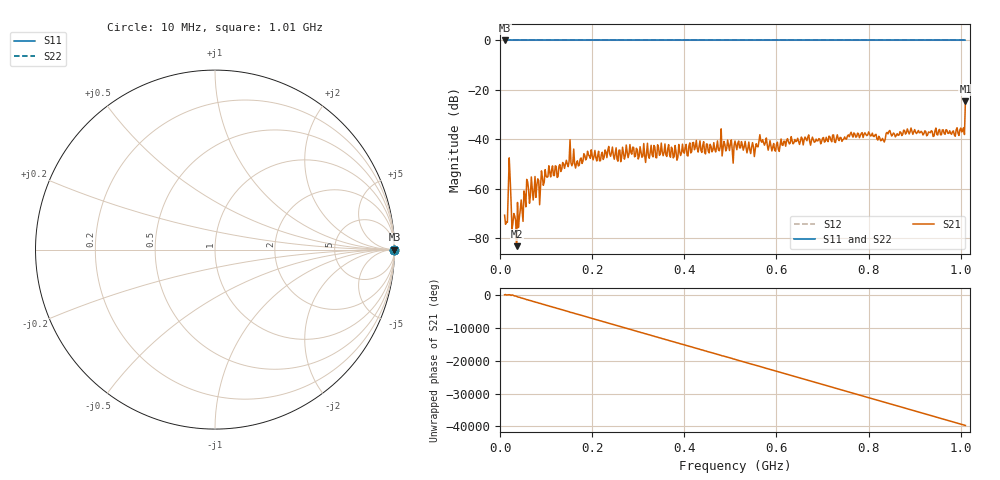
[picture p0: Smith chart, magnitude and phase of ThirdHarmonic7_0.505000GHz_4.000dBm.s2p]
! 8/17/2025 2:33:43 PM
! C:\ANRITSUVNA\TEMP\TEMP.S2P
! CHANNEL.1
! TR.MEASUREMENT
! RAW.DATA
! RF.CORRECTION.OFF
! AVERAGING.OFF
! IF.BANDWIDTH: 5KHZ
! SWEEPTYPE:  FREQ.SWEEP(Linear)
! Reference Plane Port Info
! PORT:  PORT1  PORT2
! DISTANCE:  0  m  0  m
! TIME:  0  s  0  s
! PHASE.OFFSET:  0  deg.  0  deg.
! LOSS:  0  dB  0  dB
! REF.LOSS:  0  dB  0  dB
! REF.FREQ:  0  Hz  0  Hz
! Power Info
! POWER:  -20  dBm  -20  dBm
! EFF.POWER:  -20  dBm  -20  dBm
! SOURCE.ATTEN:  0  dB  0  dB
! TEST.ATTEN:  0  dB  0  dB
# GHZ S RI R 50.0
! FREQ.GHZ  S11RE  S11IM  S21RE  S21IM  S12RE  S12IM  S22RE  S22IM
!; PortSelection: Port_12
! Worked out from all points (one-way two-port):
!   501 points, 10 MHz to 1.01 GHz, reference 50 ohm
!   highest |S21| = -24.63 dB at 1.01 GHz (marker M1); lowest = -83.1 dB at 36 MHz (marker M2)
!   lowest |S11| = 0.0 dB at 10 MHz (marker M3)
!   |S11| at or under -10 dB: nowhere
!   |S22| runs from 0.0 to 0.0 dB; largest |S21 - S12| = 1
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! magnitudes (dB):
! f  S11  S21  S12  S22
! 10 MHz  0.0  -70.6  0.0  0.0
! 14 MHz  0.0  -73.4  0.0  0.0
! 20 MHz  0.0  -47.4  0.0  0.0
! 30 MHz  0.0  -69.9  0.0  0.0
! 36 MHz  0.0  -83.1  0.0  0.0
! 52 MHz  0.0  -60.8  0.0  0.0
! 56 MHz  0.0  -67.2  0.0  0.0
! 82 MHz  0.0  -55.9  0.0  0.0
! 102 MHz  0.0  -55.3  0.0  0.0
! 156 MHz  0.0  -50.6  0.0  0.0
! 166 MHz  0.0  -49.6  0.0  0.0
! 178 MHz  0.0  -49.7  0.0  0.0
! 344 MHz  0.0  -43.2  0.0  0.0
! 510 MHz  0.0  -40.6  0.0  0.0
! 566 MHz  0.0  -40.5  0.0  0.0
! 594 MHz  0.0  -41.6  0.0  0.0
! 678 MHz  0.0  -39.1  0.0  0.0
! 830 MHz  0.0  -39.6  0.0  0.0
! 844 MHz  0.0  -36.8  0.0  0.0
! 984 MHz  0.0  -36.5  0.0  0.0
! 1.004 GHz  0.0  -36.3  0.0  0.0
! 1.01 GHz  0.0  -24.6  0.0  0.0
